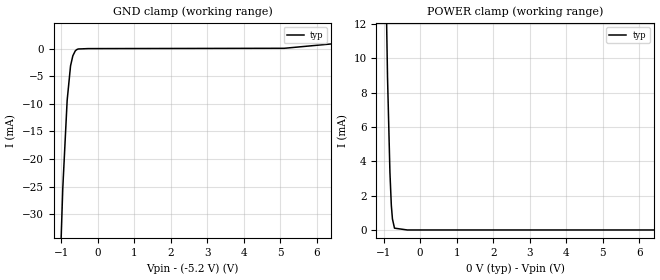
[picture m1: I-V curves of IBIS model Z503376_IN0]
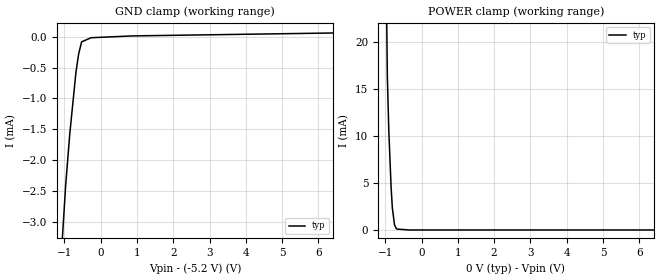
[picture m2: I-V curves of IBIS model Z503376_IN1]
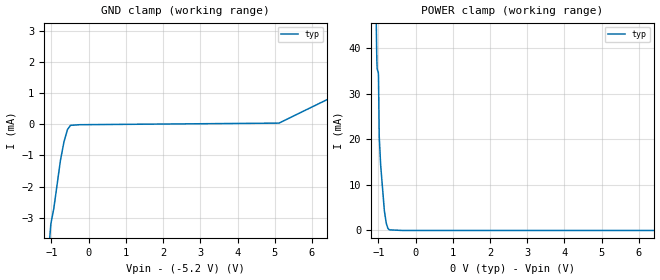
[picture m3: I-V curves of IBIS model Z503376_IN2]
| YOU ARE ONLY AUTHORIZED TO USE THIS SOFTWARE
| ACCORDING TO LICENSOR'S LICENSE RESTRICTIONS.
[IBIS Ver] 3.1
[File Name] mc100e446fn.ibs
[File Rev] 2.0
[Source] Measured and created by ICX Technology
[Date] Friday 7/14/00 9:07:47 AM
[Copyright]
| (C) COPYRIGHT 1993-2000
| MENTOR GRAPHICS CORPORATION
| ICX STANDARD LIBRARY, ICX PROJECT MODELING,
| ICX CUSTOM MODELING, ICX VENDOR MODEL
| ALL RIGHTS RESERVED.
| THE FOLLOWING ARE TRADEMARKS OR SERVICE MARKS OF
| MENTOR GRAPHICS CORPORATION:ICX (R), ICX STANDARD
| LIBRARY(R), ICX PROJECT MODELING(R), ICX CUSTOM
| MODELING(R), qualityIBIS(TM), MODELVIEWER(TM),
| AND MODELEDITOR(TM)
| ALL COPIES OF SOFTWARE, INCLUDING BUT NOT LIMITED TO
| ANY MODIFICATIONS, ENHANCEMENTS OR DERIVATIVE WORKS,
| MUST CONTAIN ALL MENTOR GRAPHICS CORPORATION'S
| NOTICES AND LEGENDS, INCLUDING THOSE EMBEDDED IN
| SOFTWARE AND THOSE AFFIXED TO SOFTWARE MEDIUM
| AND CONTAINER, AS RECEIVED FROM MENTOR GRAPHICS
| CORPORATION.
|  ZAP Model Builder 2.7
[Component] MC100E446FN
[Manufacturer] OnSemiconductor
[Package]
| variable   typ   min   max
R_pkg  .083ohms NA NA
L_pkg  4.299nH NA NA
C_pkg  1.045pF NA NA
[Pin] signal_name  model_name  R_pin  L_pin C_pin
1 VEE POWER .08 3.94n .925p
2 SIN Z503376_IN0 .082 4.14n .995p
3 _SIN Z503376_IN0 .084 4.354n 1.065p
4 SYNC Z503376_IN1 .086 4.583n 1.135p
5 VCCO POWER .086 4.583n 1.135p
6 _CL/8 Z503376_OUT0 .084 4.354n 1.065p
7 CL/8 Z503376_OUT0 .082 4.14n .995p
8 VCCO POWER .08 3.94n .925p
9 CL/4 Z503376_OUT1 .082 4.14n .995p
10 _CL/4 Z503376_OUT1 .084 4.354n 1.065p
11 VCCO POWER .086 4.583n 1.135p
12 NC NC .086 4.583n 1.135p
13 VCCO POWER .084 4.354n 1.065p
14 _SOUT Z503376_OUT2 .082 4.14n .995p
15 SOUT Z503376_OUT2 .08 3.94n .925p
16 VCC POWER .082 4.14n .995p
17 NC NC .084 4.354n 1.065p
18 NC NC .086 4.583n 1.135p
19 NC NC .086 4.583n 1.135p
20 NC NC .084 4.354n 1.065p
21 MODE Z503376_IN2 .082 4.14n .995p
22 D3 Z503376_IN3 .08 3.94n .925p
23 D2 Z503376_IN3 .082 4.14n .995p
24 D1 Z503376_IN3 .084 4.354n 1.065p
25 D0 Z503376_IN3 .086 4.583n 1.135p
26 CLK Z503376_IN4 .086 4.583n 1.135p
27 _CLK Z503376_IN4 .084 4.354n 1.065p
28 VBB POWER .082 4.14n .995p
| Models and submodels in the file (8): Z503376_IN0 (Input_ECL), Z503376_IN1 (Input_ECL), Z503376_IN2 (Input_ECL), Z503376_IN3 (Input_ECL), Z503376_IN4 (Input_ECL), Z503376_OUT0 (Output_ECL), Z503376_OUT1 (Output_ECL), Z503376_OUT2 (Output_ECL)
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| (C) COPYRIGHT 1993-2000
| MENTOR GRAPHICS CORPORATION
| ICX STANDARD LIBRARY, ICX PROJECT MODELING,
| ICX CUSTOM MODELING, ICX VENDOR MODEL
| ALL RIGHTS RESERVED.
| THE FOLLOWING ARE TRADEMARKS OR SERVICE MARKS OF
| MENTOR GRAPHICS CORPORATION:ICX (R), ICX STANDARD
| LIBRARY(R), ICX PROJECT MODELING(R), ICX CUSTOM
| MODELING(R), qualityIBIS(TM), MODELVIEWER(TM),
| AND MODELEDITOR(TM)
| ALL COPIES OF SOFTWARE, INCLUDING BUT NOT LIMITED TO
| ANY MODIFICATIONS, ENHANCEMENTS OR DERIVATIVE WORKS,
| MUST CONTAIN ALL MENTOR GRAPHICS CORPORATION'S
| NOTICES AND LEGENDS, INCLUDING THOSE EMBEDDED IN
| SOFTWARE AND THOSE AFFIXED TO SOFTWARE MEDIUM
| AND CONTAINER, AS RECEIVED FROM MENTOR GRAPHICS
| CORPORATION.
| Model Application Version 1.89 2/18/99.
[Model] Z503376_IN0
Model_type Input_ECL
Vinl = -1.475V
Vinh = -1.165V
C_comp 4.000pF NA NA
| variable typ   min   max
[Voltage Range] -5.200V NA NA
[GND Clamp Reference] -5.200V NA NA
[POWER Clamp Reference] 0.000V NA NA
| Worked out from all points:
|   GND clamp passes 1 mA (typ) near -0.66 V on its own axis
|   POWER clamp passes 1 mA (typ) near -0.77 V on its own axis
[GND Clamp]
-5.2V     -883.3mA   NA         NA
-955mV    -25.33mA   NA         NA
-835mV    -9.386mA   NA         NA
-742mV    -3.14mA    NA         NA
-679mV    -1.314mA   NA         NA
-611mV    -414.2uA   NA         NA
-572mV    -197.1uA   NA         NA
-530mV    -85.72uA   NA         NA
-265mV    -17.49uA   NA         NA
5.113V    38.58uA    NA         NA
10.4V     3.271mA    NA         NA
[POWER Clamp]
-5.2V     2.038A     NA         NA
-1.157V   57.33mA    NA         NA
-1.063V   33.42mA    NA         NA
-1.006V   23.34mA    NA         NA
-893.4mV  8.921mA    NA         NA
-827.3mV  3.361mA    NA         NA
-789.2mV  1.443mA    NA         NA
-758.5mV  640.3uA    NA         NA
-702mV    105.3uA    NA         NA
-351mV    0A         NA         NA
10.4V     0A         NA         NA
| (C) COPYRIGHT 1993-2000
| MENTOR GRAPHICS CORPORATION
| ICX STANDARD LIBRARY, ICX PROJECT MODELING,
| ICX CUSTOM MODELING, ICX VENDOR MODEL
| ALL RIGHTS RESERVED.
| THE FOLLOWING ARE TRADEMARKS OR SERVICE MARKS OF
| MENTOR GRAPHICS CORPORATION:ICX (R), ICX STANDARD
| LIBRARY(R), ICX PROJECT MODELING(R), ICX CUSTOM
| MODELING(R), qualityIBIS(TM), MODELVIEWER(TM),
| AND MODELEDITOR(TM)
| ALL COPIES OF SOFTWARE, INCLUDING BUT NOT LIMITED TO
| ANY MODIFICATIONS, ENHANCEMENTS OR DERIVATIVE WORKS,
| MUST CONTAIN ALL MENTOR GRAPHICS CORPORATION'S
| NOTICES AND LEGENDS, INCLUDING THOSE EMBEDDED IN
| SOFTWARE AND THOSE AFFIXED TO SOFTWARE MEDIUM
| AND CONTAINER, AS RECEIVED FROM MENTOR GRAPHICS
| CORPORATION.
| Model Application Version 1.89 2/18/99.
[Model] Z503376_IN1
Model_type Input_ECL
Vinl = -1.475V
Vinh = -1.165V
C_comp 4.000pF NA NA
| variable typ   min   max
[Voltage Range] -5.200V NA NA
[GND Clamp Reference] -5.200V NA NA
[POWER Clamp Reference] 0.000V NA NA
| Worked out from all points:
|   GND clamp passes 1 mA (typ) near -0.76 V on its own axis
|   POWER clamp passes 1 mA (typ) near -0.76 V on its own axis
[GND Clamp]
-5.2V     -76.53mA   NA         NA
-1.395V   -7.355mA   NA         NA
-1.167V   -4.302mA   NA         NA
-967mV    -2.411mA   NA         NA
-854mV    -1.578mA   NA         NA
-684mV    -578.9uA   NA         NA
-609mV    -280.2uA   NA         NA
-527mV    -83.09uA   NA         NA
-263.5mV  -15.93uA   NA         NA
864mV     13.02uA    NA         NA
10.4V     94.9uA     NA         NA
[POWER Clamp]
-5.2V     1.93A      NA         NA
-1.006V   37.83mA    NA         NA
-942.4mV  16.26mA    NA         NA
-902.5mV  10.55mA    NA         NA
-839.8mV  4.604mA    NA         NA
-805mV    2.344mA    NA         NA
-745.1mV  535.4uA    NA         NA
-685.8mV  97.56uA    NA         NA
-342.9mV  0A         NA         NA
10.4V     0A         NA         NA
| (C) COPYRIGHT 1993-2000
| MENTOR GRAPHICS CORPORATION
| ICX STANDARD LIBRARY, ICX PROJECT MODELING,
| ICX CUSTOM MODELING, ICX VENDOR MODEL
| ALL RIGHTS RESERVED.
| THE FOLLOWING ARE TRADEMARKS OR SERVICE MARKS OF
| MENTOR GRAPHICS CORPORATION:ICX (R), ICX STANDARD
| LIBRARY(R), ICX PROJECT MODELING(R), ICX CUSTOM
| MODELING(R), qualityIBIS(TM), MODELVIEWER(TM),
| AND MODELEDITOR(TM)
| ALL COPIES OF SOFTWARE, INCLUDING BUT NOT LIMITED TO
| ANY MODIFICATIONS, ENHANCEMENTS OR DERIVATIVE WORKS,
| MUST CONTAIN ALL MENTOR GRAPHICS CORPORATION'S
| NOTICES AND LEGENDS, INCLUDING THOSE EMBEDDED IN
| SOFTWARE AND THOSE AFFIXED TO SOFTWARE MEDIUM
| AND CONTAINER, AS RECEIVED FROM MENTOR GRAPHICS
| CORPORATION.
| Model Application Version 1.89 2/18/99.
[Model] Z503376_IN2
Model_type Input_ECL
Vinl = -1.475V
Vinh = -1.165V
C_comp 4.000pF NA NA
| variable typ   min   max
[Voltage Range] -5.200V NA NA
[GND Clamp Reference] -5.200V NA NA
[POWER Clamp Reference] 0.000V NA NA
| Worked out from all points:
|   GND clamp passes 1 mA (typ) near -0.73 V on its own axis
|   POWER clamp passes 1 mA (typ) near -0.76 V on its own axis
[GND Clamp]
-5.2V     -140.2mA   NA         NA
-1.157V   -5.227mA   NA         NA
-1.016V   -3.188mA   NA         NA
-938mV    -2.708mA   NA         NA
-759mV    -1.159mA   NA         NA
-664mV    -562.4uA   NA         NA
-570mV    -169.4uA   NA         NA
-488mV    -34.38uA   NA         NA
5.113V    36.84uA    NA         NA
10.4V     3.119mA    NA         NA
[POWER Clamp]
-5.2V     4.149A     NA         NA
-1.074V   55.32mA    NA         NA
-1.031V   35.4mA     NA         NA
-1.001V   34.64mA    NA         NA
-995.9mV  33.74mA    NA         NA
-976.1mV  20.62mA    NA         NA
-937.4mV  14.32mA    NA         NA
-838.1mV  4.328mA    NA         NA
-787mV    1.573mA    NA         NA
-742.1mV  437.6uA    NA         NA
-701.6mV  131.7uA    NA         NA
10.4V     0A         NA         NA
